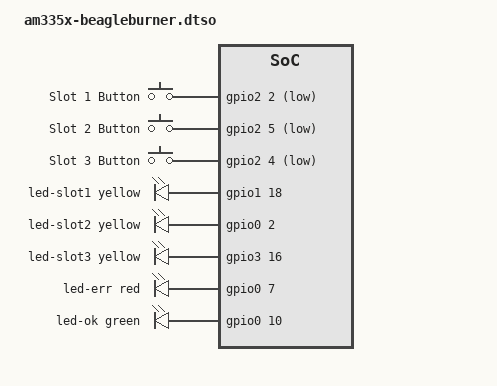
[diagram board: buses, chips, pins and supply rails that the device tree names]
// SPDX-License-Identifier: GPL-2.0-only

/dts-v1/;
/plugin/;

#include <dt-bindings/gpio/gpio.h>
#include <dt-bindings/input/input.h>
#include <dt-bindings/leds/common.h>
#include <dt-bindings/pinctrl/am33xx.h>

/*
 * Helper to show loaded overlays under: /proc/device-tree/chosen/overlays/
 */
&{/chosen} {
	overlays {
		beagleburner.kernel = __TIMESTAMP__;
	};
};

&{/leds} {
	/* beaglebone:green:usr0 */
	led2 {
		linux,default-trigger = "none";
	};

	/* beaglebone:green:usr1 */
	led3 {
		linux,default-trigger = "mmc0"; /* sdcard */
	};

	/* beaglebone:green:usr2 */
	led4 {
		linux,default-trigger = "mmc1"; /* eMMC */
	};

	/* beaglebone:green:usr3 */
	led5 {
		linux,default-trigger = "cpu0";
	};
};

/*
 * Free up the pins used by the cape from the pinmux helpers.
 */
&ocp {
	P8_07_pinmux { status = "disabled"; };	/* btn1 */
	P8_09_pinmux { status = "disabled"; };	/* btn2 */
	P8_10_pinmux { status = "disabled"; };	/* btn3 */
	P8_31_pinmux { status = "disabled"; };	/* led-ok */
	P9_14_pinmux { status = "disabled"; };	/* led-slot1 */
	P9_22_pinmux { status = "disabled"; };	/* led-slot2 */
	P9_30_pinmux { status = "disabled"; };	/* led-slot3 */
	P9_42_pinmux { status = "disabled"; };	/* led-err */
};

&am33xx_pinmux {
	beagleburner_key_pins: pinmux_beagleburner_key_pins {
		pinctrl-single,pins = <
			AM33XX_PADCONF(AM335X_PIN_GPMC_ADVN_ALE, PIN_INPUT, MUX_MODE7) /* GPMC_ADVn_ALE.gpio2_2 */
			AM33XX_PADCONF(AM335X_PIN_GPMC_BEN0_CLE, PIN_INPUT, MUX_MODE7) /* GPMC_BEN0_CLE.gpio2_5 */
			AM33XX_PADCONF(AM335X_PIN_GPMC_WEN, PIN_INPUT, MUX_MODE7) /* GPMC_WEN.gpio2_4 */
		>;
	};

	beagleburner_led_pins: pinmux_beagleburner_led_pins {
		pinctrl-single,pins = <
			AM33XX_PADCONF(AM335X_PIN_GPMC_A2, PIN_OUTPUT, MUX_MODE7) /* GPMC_A2.gpio1_18 */
			AM33XX_PADCONF(AM335X_PIN_SPI0_SCLK, PIN_OUTPUT, MUX_MODE7) /* SPI0_SCLK.gpio0_2 */
			AM33XX_PADCONF(AM335X_PIN_MCASP0_AXR0, PIN_OUTPUT, MUX_MODE7) /* MCASP0_AXR0.gpio3_16 */
			AM33XX_PADCONF(AM335X_PIN_ECAP0_IN_PWM0_OUT, PIN_OUTPUT, MUX_MODE7) /* ECAP0_IN_PWM0_OUT.gpio0_7 */
			AM33XX_PADCONF(AM335X_PIN_LCD_DATA14, PIN_OUTPUT, MUX_MODE7) /* LCD_DATA14.gpio0_10 */
		>;
	};
};

&{/} {
	gpio-keys {
		compatible = "gpio-keys";
		pinctrl-names = "default";
		pinctrl-0 = <&beagleburner_key_pins>;

		slot1-button {
			label = "Slot 1 Button";
			gpios = <&gpio2 2 GPIO_ACTIVE_LOW>;
			linux,code = <BTN_0>;
			debounce-interval = <7>;
			wakeup-source;
		};

		slot2-button {
			label = "Slot 2 Button";
			gpios = <&gpio2 5 GPIO_ACTIVE_LOW>;
			linux,code = <BTN_1>;
			debounce-interval = <7>;
			wakeup-source;
		};

		slot3-button {
			label = "Slot 3 Button";
			gpios = <&gpio2 4 GPIO_ACTIVE_LOW>;
			linux,code = <BTN_2>;
			debounce-interval = <7>;
			wakeup-source;
		};
	};

	leds {
		compatible = "gpio-leds";
		pinctrl-names = "default";
		pinctrl-0 = <&beagleburner_led_pins>;

		led-slot1 {
			function = LED_FUNCTION_STATUS;
			function-enumerator = <1>;
			gpios = <&gpio1 18 GPIO_ACTIVE_HIGH>;
			color = <LED_COLOR_ID_YELLOW>;
			linux,default-trigger = "default-on";
		};

		led-slot2 {
			function = LED_FUNCTION_STATUS;
			function-enumerator = <2>;
			gpios = <&gpio0 2 GPIO_ACTIVE_HIGH>;
			color = <LED_COLOR_ID_YELLOW>;
			linux,default-trigger = "default-on";
		};

		led-slot3 {
			function = LED_FUNCTION_STATUS;
			function-enumerator = <3>;
			gpios = <&gpio3 16 GPIO_ACTIVE_HIGH>;
			default-state = "on";
			color = <LED_COLOR_ID_YELLOW>;
			linux,default-trigger = "default-on";
		};

		led-err {
			function = LED_FUNCTION_FAULT;
			gpios = <&gpio0 7 GPIO_ACTIVE_HIGH>;
			default-state = "on";
			color = <LED_COLOR_ID_RED>;
			linux,default-trigger = "default-on";
		};

		led-ok {
			function = LED_FUNCTION_STATUS;
			function-enumerator = <4>;
			gpios = <&gpio0 10 GPIO_ACTIVE_HIGH>;
			default-state = "on";
			color = <LED_COLOR_ID_GREEN>;
			linux,default-trigger = "default-on";
		};
	};
};
